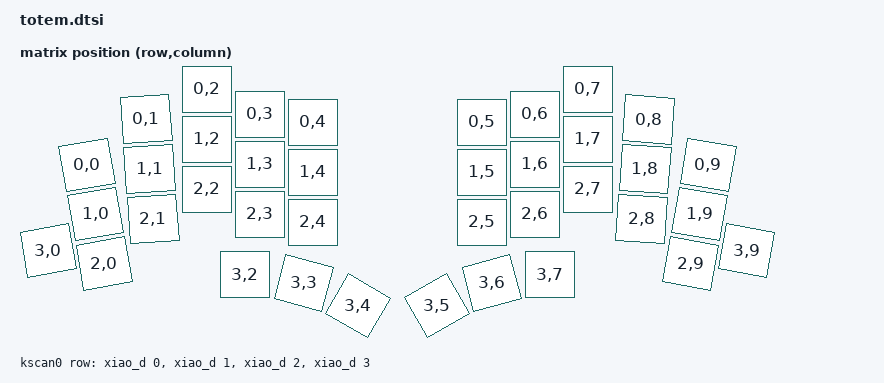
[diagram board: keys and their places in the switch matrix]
/*
 * Copyright (c) 2022 The ZMK Contributors
 *
 * SPDX-License-Identifier: MIT
 */

#include <dt-bindings/zmk/matrix_transform.h>
#include <physical_layouts.dtsi>

/ {
    chosen {
        zmk,kscan = &kscan0;
    };

    default_transform: keymap_transform_0 {
        compatible = "zmk,matrix-transform";
        columns = <10>;
        rows = <4>;
//             | SW01  | SW02  | SW03  | SW04  | SW05  |  | SW05  | SW04  | SW03  | SW02  | SW01  |
//             | SW06  | SW07  | SW08  | SW09  | SW10  |  | SW10  | SW09  | SW08  | SW07  | SW06  | 
//      | SW16 | SW11  | SW12  | SW13  | SW14  | SW15  |  | SW15  | SW14  | SW13  | SW12  | SW11  | SW16  |
//                             | SW17  | SW18  | SW19  |  | SW19  | SW18  | SW17  | 
        map = <
                RC(0,0) RC(0,1) RC(0,2) RC(0,3) RC(0,4)    RC(0,5) RC(0,6) RC(0,7) RC(0,8) RC(0,9)
                RC(1,0) RC(1,1) RC(1,2) RC(1,3) RC(1,4)    RC(1,5) RC(1,6) RC(1,7) RC(1,8) RC(1,9)
        RC(3,0) RC(2,0) RC(2,1) RC(2,2) RC(2,3) RC(2,4)    RC(2,5) RC(2,6) RC(2,7) RC(2,8) RC(2,9) RC(3,9)
                                RC(3,2) RC(3,3) RC(3,4)    RC(3,5) RC(3,6) RC(3,7)         
        >;
    };

    totem_layout: totem_layout {
        compatible = "zmk,physical-layout";
        display-name = "Default";
        transform = <&default_transform>;
        kscan = <&kscan0>;

        keys  //                     w   h    x    y     rot    rx    ry
            = <&key_physical_attrs 106 100   78  152 (-1000)   130   202>
            , <&key_physical_attrs 106 100  196   60  (-400)   249   110>
            , <&key_physical_attrs 106 100  318    0       0     0     0>
            , <&key_physical_attrs 106 100  423   50       0     0     0>
            , <&key_physical_attrs 106 100  529   66       0     0     0>
            , <&key_physical_attrs 106 100  868   66       0     0     0>
            , <&key_physical_attrs 106 100  974   50       0     0     0>
            , <&key_physical_attrs 106 100 1080    0       0     0     0>
            , <&key_physical_attrs 106 100 1201   61     400  1254   111>
            , <&key_physical_attrs 106 100 1320  152    1000  1373   202>
            , <&key_physical_attrs 106 100   95  250 (-1000)   148   300>
            , <&key_physical_attrs 106 100  203  160  (-400)   256   210>
            , <&key_physical_attrs 106 100  318  100       0     0     0>
            , <&key_physical_attrs 106 100  423  150       0     0     0>
            , <&key_physical_attrs 106 100  529  166       0     0     0>
            , <&key_physical_attrs 106 100  868  166       0     0     0>
            , <&key_physical_attrs 106 100  974  150       0     0     0>
            , <&key_physical_attrs 106 100 1080  100       0     0     0>
            , <&key_physical_attrs 106 100 1194  160     400  1247   210>
            , <&key_physical_attrs 106 100 1303  250    1000  1356   300>
            , <&key_physical_attrs 106 100    0  323 (-1000)    53   373>
            , <&key_physical_attrs 106 100  112  349 (-1000)   165   399>
            , <&key_physical_attrs 106 100  210  260  (-400)   263   310>
            , <&key_physical_attrs 106 100  318  200       0     0     0>
            , <&key_physical_attrs 106 100  423  250       0     0     0>
            , <&key_physical_attrs 106 100  529  266       0     0     0>
            , <&key_physical_attrs 106 100  868  266       0     0     0>
            , <&key_physical_attrs 106 100  974  250       0     0     0>
            , <&key_physical_attrs 106 100 1080  200       0     0     0>
            , <&key_physical_attrs 106 100 1187  260     400  1240   310>
            , <&key_physical_attrs 106 100 1285  349    1000  1338   399>
            , <&key_physical_attrs 106 100 1397  323    1000  1450   373>
            , <&key_physical_attrs 106 100  394  371       0     0     0>
            , <&key_physical_attrs 106 100  511  388    1500   564   438>
            , <&key_physical_attrs 106 100  620  433    3000   672   483>
            , <&key_physical_attrs 106 100  778  433 (-3000)   831   483>
            , <&key_physical_attrs 106 100  887  388 (-1500)   940   438>
            , <&key_physical_attrs 106 100 1004  371       0     0     0>
            ;
    };

    kscan0: kscan_0 {
        compatible = "zmk,kscan-gpio-matrix";
        label = "KSCAN";
        
        diode-direction = "col2row"; 
        row-gpios
            = <&xiao_d 0 (GPIO_ACTIVE_HIGH | GPIO_PULL_DOWN)>
            , <&xiao_d 1 (GPIO_ACTIVE_HIGH | GPIO_PULL_DOWN)>
            , <&xiao_d 2 (GPIO_ACTIVE_HIGH | GPIO_PULL_DOWN)>
            , <&xiao_d 3 (GPIO_ACTIVE_HIGH | GPIO_PULL_DOWN)>
            ;
    };
};
